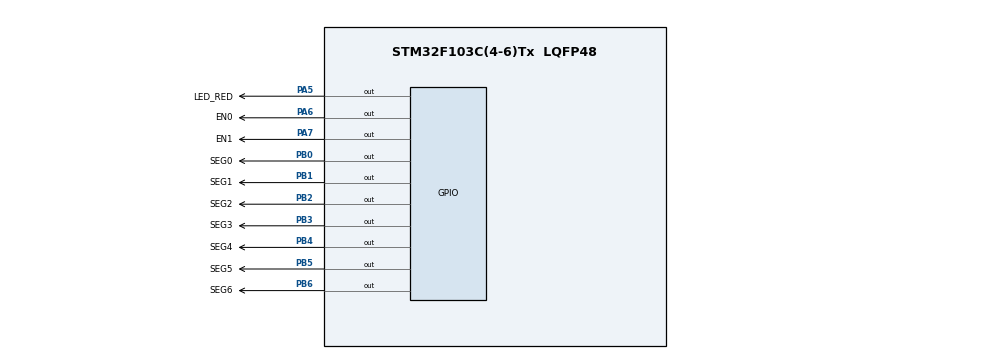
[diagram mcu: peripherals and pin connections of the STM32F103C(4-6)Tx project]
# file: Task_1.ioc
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Mcu.Family=STM32F1
Mcu.Name=STM32F103C(4-6)Tx
Mcu.Package=LQFP48
NVIC.PriorityGroup=NVIC_PRIORITYGROUP_4
NVIC.TIM2_IRQn=true\:0\:0\:false\:false\:true\:true\:true
PA5.GPIO_Label=LED_RED
PA5.Signal=GPIO_Output
PA6.GPIO_Label=EN0
PA6.Signal=GPIO_Output
PA7.GPIO_Label=EN1
PA7.Signal=GPIO_Output
PB0.GPIO_Label=SEG0
PB0.Signal=GPIO_Output
PB1.GPIO_Label=SEG1
PB1.Signal=GPIO_Output
PB2.GPIO_Label=SEG2
PB2.Signal=GPIO_Output
PB3.GPIO_Label=SEG3
PB3.Signal=GPIO_Output
PB4.GPIO_Label=SEG4
PB4.Signal=GPIO_Output
PB5.GPIO_Label=SEG5
PB5.Signal=GPIO_Output
PB6.GPIO_Label=SEG6
PB6.Signal=GPIO_Output
ProjectManager.HeapSize=0x200
ProjectManager.StackSize=0x400
ProjectManager.TargetToolchain=STM32CubeIDE
RCC.APB1Freq_Value=8000000
RCC.APB2Freq_Value=8000000
TIM2.Period=9
TIM2.Prescaler=7999
VP_SYS_VS_ND.Mode=No_Debug
VP_TIM2_VS_ClockSourceINT.Mode=Internal
board=custom

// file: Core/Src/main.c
/* USER CODE BEGIN Header */
/**
  ******************************************************************************
  * @file           : main.c
  * @brief          : Main program body
  ******************************************************************************
  * @attention
  *
  * <h2><center>&copy; Copyright (c) 2022 STMicroelectronics.
  * All rights reserved.</center></h2>
  *
  * This software component is licensed by ST under BSD 3-Clause license,
  * the "License"; You may not use this file except in compliance with the
  * License. You may obtain a copy of the License at:
  *                        opensource.org/licenses/BSD-3-Clause
  *
  ******************************************************************************
  */
/* USER CODE END Header */
#include "main.h"

/* USER CODE BEGIN Includes */
#include "software_timer.h"
/* USER CODE END Includes */

TIM_HandleTypeDef htim2;

void SystemClock_Config(void);
static void MX_GPIO_Init(void);
static void MX_TIM2_Init(void);

void  display7SEG_1(int num)     // LED 7 doan cho cac so tu 0 den 9
   {

 	 if(num==0)
 	 {
 	 	 // Number 0
 	           HAL_GPIO_WritePin(SEG0_GPIO_Port, SEG0_Pin, 0);          //a
 	  	       HAL_GPIO_WritePin(SEG1_GPIO_Port, SEG1_Pin, 0);      //b
 	  	       HAL_GPIO_WritePin(SEG2_GPIO_Port, SEG2_Pin, 0);     //c
 	  	       HAL_GPIO_WritePin(SEG3_GPIO_Port, SEG3_Pin, 0);     //d
 	  	       HAL_GPIO_WritePin(SEG4_GPIO_Port, SEG4_Pin, 0);     //e
 	  	       HAL_GPIO_WritePin(SEG5_GPIO_Port, SEG5_Pin, 0);     //f
 	  	       HAL_GPIO_WritePin(SEG6_GPIO_Port, SEG6_Pin, 1);    //g
 	 }
 	 if(num==1)
 	 {
 		 // Number 1

 		          HAL_GPIO_WritePin(SEG0_GPIO_Port, SEG0_Pin, 1);          //a
 		 	  	  HAL_GPIO_WritePin(SEG1_GPIO_Port, SEG1_Pin, 0);      //b
 		 	  	  HAL_GPIO_WritePin(SEG2_GPIO_Port, SEG2_Pin, 0);     //c
 		 	  	  HAL_GPIO_WritePin(SEG3_GPIO_Port, SEG3_Pin, 1);     //d
 		 	  	  HAL_GPIO_WritePin(SEG4_GPIO_Port, SEG4_Pin, 1);     //e
 		 	  	  HAL_GPIO_WritePin(SEG5_GPIO_Port, SEG5_Pin, 1);     //f
 		 	  	  HAL_GPIO_WritePin(SEG6_GPIO_Port, SEG6_Pin, 1);    //g
 	 }
 	 if(num==2)
 	 {
 		 // Number 2

 		          HAL_GPIO_WritePin(SEG0_GPIO_Port, SEG0_Pin, 0);          //a
 		 	  	  HAL_GPIO_WritePin(SEG1_GPIO_Port, SEG1_Pin, 0);      //b
 		 	  	  HAL_GPIO_WritePin(SEG2_GPIO_Port, SEG2_Pin, 1);     //c
 		 	  	  HAL_GPIO_WritePin(SEG3_GPIO_Port, SEG3_Pin, 0);     //d
 		 	  	  HAL_GPIO_WritePin(SEG4_GPIO_Port, SEG4_Pin, 0);     //e
 		 	  	  HAL_GPIO_WritePin(SEG5_GPIO_Port, SEG5_Pin, 1);     //f
 		 	  	  HAL_GPIO_WritePin(SEG6_GPIO_Port, SEG6_Pin, 0);    //g
 	 }
 	 if(num==3)
 	 {
 		          HAL_GPIO_WritePin(SEG0_GPIO_Port, SEG0_Pin, 0);          //a
 		 	  	  HAL_GPIO_WritePin(SEG1_GPIO_Port, SEG1_Pin, 0);      //b
 		 	  	  HAL_GPIO_WritePin(SEG2_GPIO_Port, SEG2_Pin, 0);     //c
 		 	  	  HAL_GPIO_WritePin(SEG3_GPIO_Port, SEG3_Pin, 0);     //d
 		 	  	  HAL_GPIO_WritePin(SEG4_GPIO_Port, SEG4_Pin, 1);     //e
 		 	  	  HAL_GPIO_WritePin(SEG5_GPIO_Port, SEG5_Pin, 1);     //f
 		 	  	  HAL_GPIO_WritePin(SEG6_GPIO_Port, SEG6_Pin, 0);    //g
 	 }
 	 if(num==4)
 	 {
 		 // Number 4
 		          HAL_GPIO_WritePin(SEG0_GPIO_Port, SEG0_Pin, 1);          //a
 		 	  	  HAL_GPIO_WritePin(SEG1_GPIO_Port, SEG1_Pin, 0);      //b
 		 	  	  HAL_GPIO_WritePin(SEG2_GPIO_Port, SEG2_Pin, 0);     //c
 		 	  	  HAL_GPIO_WritePin(SEG3_GPIO_Port, SEG3_Pin, 1);     //d
 		 	  	  HAL_GPIO_WritePin(SEG4_GPIO_Port, SEG4_Pin, 1);     //e
 		 	  	  HAL_GPIO_WritePin(SEG5_GPIO_Port, SEG5_Pin, 0);     //f
 		 	  	  HAL_GPIO_WritePin(SEG6_GPIO_Port, SEG6_Pin, 0);    //g
 	 }
 	 if(num==5)
 	 {
 		 //Number= 5
 		          HAL_GPIO_WritePin(SEG0_GPIO_Port, SEG0_Pin, 0);          //a
 		 	  	  HAL_GPIO_WritePin(SEG1_GPIO_Port, SEG1_Pin, 1);      //b
 		 	  	  HAL_GPIO_WritePin(SEG2_GPIO_Port, SEG2_Pin, 0);     //c
 		 	  	  HAL_GPIO_WritePin(SEG3_GPIO_Port, SEG3_Pin, 0);     //d
 		 	  	  HAL_GPIO_WritePin(SEG4_GPIO_Port, SEG4_Pin, 1);     //e
 		 	  	  HAL_GPIO_WritePin(SEG5_GPIO_Port, SEG5_Pin, 0);     //f
 		 	  	  HAL_GPIO_WritePin(SEG6_GPIO_Port, SEG6_Pin, 0);    //g
 	 }
 	 if(num==6)
 	 {
 		 // Number 6
 		          HAL_GPIO_WritePin(SEG0_GPIO_Port, SEG0_Pin, 0);          //a
 		 	  	  HAL_GPIO_WritePin(SEG1_GPIO_Port, SEG1_Pin, 1);      //b
 		 	  	  HAL_GPIO_WritePin(SEG2_GPIO_Port, SEG2_Pin, 0);     //c
 		 	  	  HAL_GPIO_WritePin(SEG3_GPIO_Port, SEG3_Pin, 0);     //d
 		 	  	  HAL_GPIO_WritePin(SEG4_GPIO_Port, SEG4_Pin, 0);     //e
 		 	  	  HAL_GPIO_WritePin(SEG5_GPIO_Port, SEG5_Pin, 0);     //f
 		 	  	  HAL_GPIO_WritePin(SEG6_GPIO_Port, SEG6_Pin, 0);    //g
 	 }
 	 if(num==7)
 	 {
 		 // Number 7
 		          HAL_GPIO_WritePin(SEG0_GPIO_Port, SEG0_Pin, 0);          //a
 		 	  	  HAL_GPIO_WritePin(SEG1_GPIO_Port, SEG1_Pin, 0);      //b
 		 	  	  HAL_GPIO_WritePin(SEG2_GPIO_Port, SEG2_Pin, 0);     //c
 		 	  	  HAL_GPIO_WritePin(SEG3_GPIO_Port, SEG3_Pin, 1);     //d
 		 	  	  HAL_GPIO_WritePin(SEG4_GPIO_Port, SEG4_Pin, 1);     //e
 		 	  	  HAL_GPIO_WritePin(SEG5_GPIO_Port, SEG5_Pin, 1);     //f
 		 	  	  HAL_GPIO_WritePin(SEG6_GPIO_Port, SEG6_Pin, 1);    //g
 	 }
 	 if(num==8)
 	 {
 		  // Number 8
 		          HAL_GPIO_WritePin(SEG0_GPIO_Port, SEG0_Pin, 0);          //a
 		 	  	  HAL_GPIO_WritePin(SEG1_GPIO_Port, SEG1_Pin, 0);      //b
 		 	  	  HAL_GPIO_WritePin(SEG2_GPIO_Port, SEG2_Pin, 0);     //c
 		 	  	  HAL_GPIO_WritePin(SEG3_GPIO_Port, SEG3_Pin, 0);     //d
 		 	  	  HAL_GPIO_WritePin(SEG4_GPIO_Port, SEG4_Pin, 0);     //e
 		 	  	  HAL_GPIO_WritePin(SEG5_GPIO_Port, SEG5_Pin, 0);     //f
 		 	  	  HAL_GPIO_WritePin(SEG6_GPIO_Port, SEG6_Pin, 0);    //g
 	 }
 	 if(num==9)
 	 {
 		 // Number 9
 		          HAL_GPIO_WritePin(SEG0_GPIO_Port, SEG0_Pin, 0);          //a
 		 	  	  HAL_GPIO_WritePin(SEG1_GPIO_Port, SEG1_Pin, 0);      //b
 		 	  	  HAL_GPIO_WritePin(SEG2_GPIO_Port, SEG2_Pin, 0);     //c
 		 	  	  HAL_GPIO_WritePin(SEG3_GPIO_Port, SEG3_Pin, 0);     //d
 		 	  	  HAL_GPIO_WritePin(SEG4_GPIO_Port, SEG4_Pin, 1);     //e
 		 	  	  HAL_GPIO_WritePin(SEG5_GPIO_Port, SEG5_Pin, 0);     //f
 		 	  	  HAL_GPIO_WritePin(SEG6_GPIO_Port, SEG6_Pin, 0);    //g
 	 }
   }
int main(void)
{

  /* MCU Configuration--------------------------------------------------------*/

  /* Reset of all peripherals, Initializes the Flash interface and the Systick. */
  HAL_Init();

  /* Configure the system clock */
  SystemClock_Config();

  /* Initialize all configured peripherals */
  MX_GPIO_Init();
  MX_TIM2_Init();
  /* USER CODE BEGIN 2 */
  HAL_TIM_Base_Start_IT (& htim2 );
  /* USER CODE END 2 */

  /* Infinite loop */
  while (1)
  {

  }
}

void SystemClock_Config(void)
{
  RCC_OscInitTypeDef RCC_OscInitStruct = {0};
  RCC_ClkInitTypeDef RCC_ClkInitStruct = {0};

  /** Initializes the RCC Oscillators according to the specified parameters
  * in the RCC_OscInitTypeDef structure.
  */
  RCC_OscInitStruct.OscillatorType = RCC_OSCILLATORTYPE_HSI;
  RCC_OscInitStruct.HSIState = RCC_HSI_ON;
  RCC_OscInitStruct.HSICalibrationValue = RCC_HSICALIBRATION_DEFAULT;
  RCC_OscInitStruct.PLL.PLLState = RCC_PLL_NONE;
  if (HAL_RCC_OscConfig(&RCC_OscInitStruct) != HAL_OK)
  {
    Error_Handler();
  }
  /** Initializes the CPU, AHB and APB buses clocks
  */
  RCC_ClkInitStruct.ClockType = RCC_CLOCKTYPE_HCLK|RCC_CLOCKTYPE_SYSCLK
                              |RCC_CLOCKTYPE_PCLK1|RCC_CLOCKTYPE_PCLK2;
  RCC_ClkInitStruct.SYSCLKSource = RCC_SYSCLKSOURCE_HSI;
  RCC_ClkInitStruct.AHBCLKDivider = RCC_SYSCLK_DIV1;
  RCC_ClkInitStruct.APB1CLKDivider = RCC_HCLK_DIV1;
  RCC_ClkInitStruct.APB2CLKDivider = RCC_HCLK_DIV1;

  if (HAL_RCC_ClockConfig(&RCC_ClkInitStruct, FLASH_LATENCY_0) != HAL_OK)
  {
    Error_Handler();
  }
}

static void MX_TIM2_Init(void)
{

  TIM_ClockConfigTypeDef sClockSourceConfig = {0};
  TIM_MasterConfigTypeDef sMasterConfig = {0};

  htim2.Instance = TIM2;
  htim2.Init.Prescaler = 7999;
  htim2.Init.CounterMode = TIM_COUNTERMODE_UP;
  htim2.Init.Period = 9;
  htim2.Init.ClockDivision = TIM_CLOCKDIVISION_DIV1;
  htim2.Init.AutoReloadPreload = TIM_AUTORELOAD_PRELOAD_DISABLE;
  if (HAL_TIM_Base_Init(&htim2) != HAL_OK)
  {
    Error_Handler();
  }
  sClockSourceConfig.ClockSource = TIM_CLOCKSOURCE_INTERNAL;
  if (HAL_TIM_ConfigClockSource(&htim2, &sClockSourceConfig) != HAL_OK)
  {
    Error_Handler();
  }
  sMasterConfig.MasterOutputTrigger = TIM_TRGO_RESET;
  sMasterConfig.MasterSlaveMode = TIM_MASTERSLAVEMODE_DISABLE;
  if (HAL_TIMEx_MasterConfigSynchronization(&htim2, &sMasterConfig) != HAL_OK)
  {
    Error_Handler();
  }

}

static void MX_GPIO_Init(void)
{
  GPIO_InitTypeDef GPIO_InitStruct = {0};

  /* GPIO Ports Clock Enable */
  __HAL_RCC_GPIOA_CLK_ENABLE();
  __HAL_RCC_GPIOB_CLK_ENABLE();

  /*Configure GPIO pin Output Level */
  HAL_GPIO_WritePin(GPIOA, LED_RED_Pin|EN0_Pin|EN1_Pin, GPIO_PIN_RESET);

  /*Configure GPIO pin Output Level */
  HAL_GPIO_WritePin(GPIOB, SEG0_Pin|SEG1_Pin|SEG2_Pin|SEG3_Pin
                          |SEG4_Pin|SEG5_Pin|SEG6_Pin, GPIO_PIN_RESET);

  /*Configure GPIO pins : LED_RED_Pin EN0_Pin EN1_Pin */
  GPIO_InitStruct.Pin = LED_RED_Pin|EN0_Pin|EN1_Pin;
  GPIO_InitStruct.Mode = GPIO_MODE_OUTPUT_PP;
  GPIO_InitStruct.Pull = GPIO_NOPULL;
  GPIO_InitStruct.Speed = GPIO_SPEED_FREQ_LOW;
  HAL_GPIO_Init(GPIOA, &GPIO_InitStruct);

  /*Configure GPIO pins : SEG0_Pin SEG1_Pin SEG2_Pin SEG3_Pin
                           SEG4_Pin SEG5_Pin SEG6_Pin */
  GPIO_InitStruct.Pin = SEG0_Pin|SEG1_Pin|SEG2_Pin|SEG3_Pin
                          |SEG4_Pin|SEG5_Pin|SEG6_Pin;
  GPIO_InitStruct.Mode = GPIO_MODE_OUTPUT_PP;
  GPIO_InitStruct.Pull = GPIO_NOPULL;
  GPIO_InitStruct.Speed = GPIO_SPEED_FREQ_LOW;
  HAL_GPIO_Init(GPIOB, &GPIO_InitStruct);

}

/* USER CODE BEGIN 4 */
int counter= 50;
int led_status=0;
void HAL_TIM_PeriodElapsedCallback ( TIM_HandleTypeDef * htim )
{
	counter--;
	if(counter<=0 && led_status==0)
	{
		 counter= 50;
		 led_status= 1;
		 HAL_GPIO_TogglePin(LED_RED_GPIO_Port, LED_RED_Pin);     // LED RED ON
		 HAL_GPIO_WritePin(EN0_GPIO_Port, EN0_Pin, 0);           // LED 7_SEG_1 ON
		 HAL_GPIO_WritePin(EN1_GPIO_Port, EN1_Pin, 1);           // LED 7_SEG_2 OFF
		 display7SEG_1(1);                                       // Hien thi so 1 tren LED 7 doan thu 1
	}
	if(counter<=0 && led_status==1)
	{
		counter=50;
		led_status=0;
		HAL_GPIO_TogglePin(LED_RED_GPIO_Port, LED_RED_Pin);    // LED RED ON
		HAL_GPIO_WritePin(EN0_GPIO_Port, EN0_Pin, 1);          // LED 7_SEG_1 ON
		HAL_GPIO_WritePin(EN1_GPIO_Port, EN1_Pin, 0);          // LED 7_SEG_2 OFF
		display7SEG_1(2);                                      // Hien thi so 2 tren LED 7 doan thu 2
	}
}
/* USER CODE END 4 */

void Error_Handler(void)
{
  __disable_irq();
  while (1)
  {
  }
}

/************************ (C) COPYRIGHT STMicroelectronics *****END OF FILE****/
